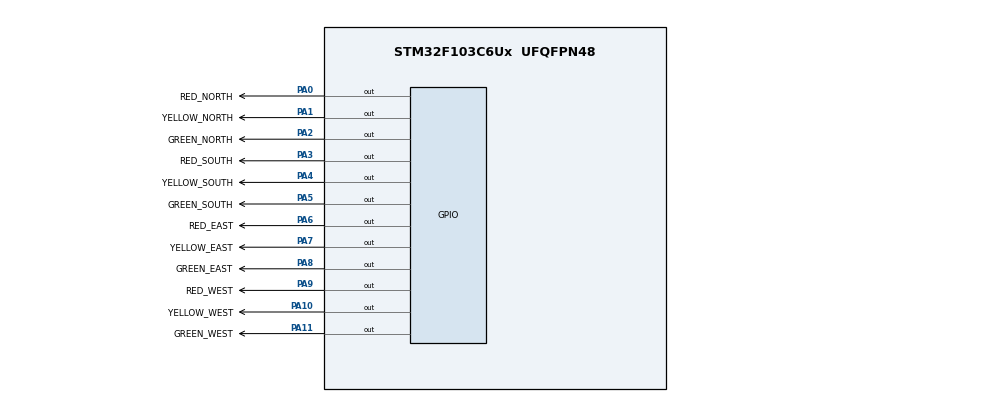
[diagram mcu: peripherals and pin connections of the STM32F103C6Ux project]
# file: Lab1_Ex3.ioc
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Mcu.Family=STM32F1
Mcu.Name=STM32F103C6Ux
Mcu.Package=UFQFPN48
NVIC.PriorityGroup=NVIC_PRIORITYGROUP_4
PA0-WKUP.GPIO_Label=RED_NORTH
PA0-WKUP.Signal=GPIO_Output
PA1.GPIO_Label=YELLOW_NORTH
PA1.Signal=GPIO_Output
PA10.GPIO_Label=YELLOW_WEST
PA10.Signal=GPIO_Output
PA11.GPIO_Label=GREEN_WEST
PA11.Signal=GPIO_Output
PA2.GPIO_Label=GREEN_NORTH
PA2.Signal=GPIO_Output
PA3.GPIO_Label=RED_SOUTH
PA3.Signal=GPIO_Output
PA4.GPIO_Label=YELLOW_SOUTH
PA4.Signal=GPIO_Output
PA5.GPIO_Label=GREEN_SOUTH
PA5.Signal=GPIO_Output
PA6.GPIO_Label=RED_EAST
PA6.Signal=GPIO_Output
PA7.GPIO_Label=YELLOW_EAST
PA7.Signal=GPIO_Output
PA8.GPIO_Label=GREEN_EAST
PA8.Signal=GPIO_Output
PA9.GPIO_Label=RED_WEST
PA9.Signal=GPIO_Output
ProjectManager.HeapSize=0x200
ProjectManager.StackSize=0x400
ProjectManager.TargetToolchain=STM32CubeIDE
RCC.APB1Freq_Value=8000000
RCC.APB2Freq_Value=8000000
VP_SYS_VS_ND.Mode=No_Debug
board=custom

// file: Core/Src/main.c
/* USER CODE BEGIN Header */
/**
  ******************************************************************************
  * @file           : main.c
  * @brief          : Main program body
  ******************************************************************************
  * @attention
  *
  * <h2><center>&copy; Copyright (c) 2026 STMicroelectronics.
  * All rights reserved.</center></h2>
  *
  * This software component is licensed by ST under BSD 3-Clause license,
  * the "License"; You may not use this file except in compliance with the
  * License. You may obtain a copy of the License at:
  *                        opensource.org/licenses/BSD-3-Clause
  *
  ******************************************************************************
  */
/* USER CODE END Header */
#include "main.h"

void SystemClock_Config(void);
static void MX_GPIO_Init(void);

int main(void)
{

  /* MCU Configuration--------------------------------------------------------*/

  /* Reset of all peripherals, Initializes the Flash interface and the Systick. */
  HAL_Init();

  /* Configure the system clock */
  SystemClock_Config();

  /* Initialize all configured peripherals */
  MX_GPIO_Init();

  /* Infinite loop */
  while (1)
    {

      /* USER CODE BEGIN 3 */

      HAL_GPIO_WritePin(GPIOA, RED_NORTH_Pin | YELLOW_NORTH_Pin, GPIO_PIN_RESET);
      HAL_GPIO_WritePin(GPIOA, GREEN_NORTH_Pin, GPIO_PIN_SET);

      HAL_GPIO_WritePin(GPIOA, RED_SOUTH_Pin | YELLOW_SOUTH_Pin, GPIO_PIN_RESET);
      HAL_GPIO_WritePin(GPIOA, GREEN_SOUTH_Pin, GPIO_PIN_SET);

      HAL_GPIO_WritePin(GPIOA, YELLOW_EAST_Pin | GREEN_EAST_Pin, GPIO_PIN_RESET);
      HAL_GPIO_WritePin(GPIOA, RED_EAST_Pin, GPIO_PIN_SET);

      HAL_GPIO_WritePin(GPIOA, YELLOW_WEST_Pin | GREEN_WEST_Pin, GPIO_PIN_RESET);
      HAL_GPIO_WritePin(GPIOA, RED_WEST_Pin, GPIO_PIN_SET);

      HAL_Delay(3000);

      HAL_GPIO_WritePin(GPIOA, RED_NORTH_Pin | GREEN_NORTH_Pin, GPIO_PIN_RESET);
      HAL_GPIO_WritePin(GPIOA, YELLOW_NORTH_Pin, GPIO_PIN_SET);

      HAL_GPIO_WritePin(GPIOA, RED_SOUTH_Pin | GREEN_SOUTH_Pin, GPIO_PIN_RESET);
      HAL_GPIO_WritePin(GPIOA, YELLOW_SOUTH_Pin, GPIO_PIN_SET);

      HAL_Delay(2000);

      HAL_GPIO_WritePin(GPIOA, YELLOW_NORTH_Pin | GREEN_NORTH_Pin, GPIO_PIN_RESET);
      HAL_GPIO_WritePin(GPIOA, RED_NORTH_Pin, GPIO_PIN_SET);

      HAL_GPIO_WritePin(GPIOA, YELLOW_SOUTH_Pin | GREEN_SOUTH_Pin, GPIO_PIN_RESET);
      HAL_GPIO_WritePin(GPIOA, RED_SOUTH_Pin, GPIO_PIN_SET);

      HAL_GPIO_WritePin(GPIOA, RED_EAST_Pin | YELLOW_EAST_Pin, GPIO_PIN_RESET);
      HAL_GPIO_WritePin(GPIOA, GREEN_EAST_Pin, GPIO_PIN_SET);

      HAL_GPIO_WritePin(GPIOA, RED_WEST_Pin | YELLOW_WEST_Pin, GPIO_PIN_RESET);
      HAL_GPIO_WritePin(GPIOA, GREEN_WEST_Pin, GPIO_PIN_SET);

      HAL_Delay(3000);

      HAL_GPIO_WritePin(GPIOA, RED_EAST_Pin | GREEN_EAST_Pin, GPIO_PIN_RESET);
      HAL_GPIO_WritePin(GPIOA, YELLOW_EAST_Pin, GPIO_PIN_SET);

      HAL_GPIO_WritePin(GPIOA, RED_WEST_Pin | GREEN_WEST_Pin, GPIO_PIN_RESET);
      HAL_GPIO_WritePin(GPIOA, YELLOW_WEST_Pin, GPIO_PIN_SET);

      HAL_Delay(2000);
    }
    /* USER CODE END 3 */
  }

void SystemClock_Config(void)
{
  RCC_OscInitTypeDef RCC_OscInitStruct = {0};
  RCC_ClkInitTypeDef RCC_ClkInitStruct = {0};

  /** Initializes the RCC Oscillators according to the specified parameters
  * in the RCC_OscInitTypeDef structure.
  */
  RCC_OscInitStruct.OscillatorType = RCC_OSCILLATORTYPE_HSI;
  RCC_OscInitStruct.HSIState = RCC_HSI_ON;
  RCC_OscInitStruct.HSICalibrationValue = RCC_HSICALIBRATION_DEFAULT;
  RCC_OscInitStruct.PLL.PLLState = RCC_PLL_NONE;
  if (HAL_RCC_OscConfig(&RCC_OscInitStruct) != HAL_OK)
  {
    Error_Handler();
  }
  /** Initializes the CPU, AHB and APB buses clocks
  */
  RCC_ClkInitStruct.ClockType = RCC_CLOCKTYPE_HCLK|RCC_CLOCKTYPE_SYSCLK
                              |RCC_CLOCKTYPE_PCLK1|RCC_CLOCKTYPE_PCLK2;
  RCC_ClkInitStruct.SYSCLKSource = RCC_SYSCLKSOURCE_HSI;
  RCC_ClkInitStruct.AHBCLKDivider = RCC_SYSCLK_DIV1;
  RCC_ClkInitStruct.APB1CLKDivider = RCC_HCLK_DIV1;
  RCC_ClkInitStruct.APB2CLKDivider = RCC_HCLK_DIV1;

  if (HAL_RCC_ClockConfig(&RCC_ClkInitStruct, FLASH_LATENCY_0) != HAL_OK)
  {
    Error_Handler();
  }
}

static void MX_GPIO_Init(void)
{
  GPIO_InitTypeDef GPIO_InitStruct = {0};

  /* GPIO Ports Clock Enable */
  __HAL_RCC_GPIOA_CLK_ENABLE();

  /*Configure GPIO pin Output Level */
  HAL_GPIO_WritePin(GPIOA, RED_NORTH_Pin|YELLOW_NORTH_Pin|GREEN_NORTH_Pin|RED_SOUTH_Pin
                          |YELLOW_SOUTH_Pin|GREEN_SOUTH_Pin|RED_EAST_Pin|YELLOW_EAST_Pin
                          |GREEN_EAST_Pin|RED_WEST_Pin|YELLOW_WEST_Pin|GREEN_WEST_Pin, GPIO_PIN_RESET);

  /*Configure GPIO pins : RED_NORTH_Pin YELLOW_NORTH_Pin GREEN_NORTH_Pin RED_SOUTH_Pin
                           YELLOW_SOUTH_Pin GREEN_SOUTH_Pin RED_EAST_Pin YELLOW_EAST_Pin
                           GREEN_EAST_Pin RED_WEST_Pin YELLOW_WEST_Pin GREEN_WEST_Pin */
  GPIO_InitStruct.Pin = RED_NORTH_Pin|YELLOW_NORTH_Pin|GREEN_NORTH_Pin|RED_SOUTH_Pin
                          |YELLOW_SOUTH_Pin|GREEN_SOUTH_Pin|RED_EAST_Pin|YELLOW_EAST_Pin
                          |GREEN_EAST_Pin|RED_WEST_Pin|YELLOW_WEST_Pin|GREEN_WEST_Pin;
  GPIO_InitStruct.Mode = GPIO_MODE_OUTPUT_PP;
  GPIO_InitStruct.Pull = GPIO_NOPULL;
  GPIO_InitStruct.Speed = GPIO_SPEED_FREQ_LOW;
  HAL_GPIO_Init(GPIOA, &GPIO_InitStruct);

}

void Error_Handler(void)
{
  __disable_irq();
  while (1)
  {
  }
}

/************************ (C) COPYRIGHT STMicroelectronics *****END OF FILE****/
